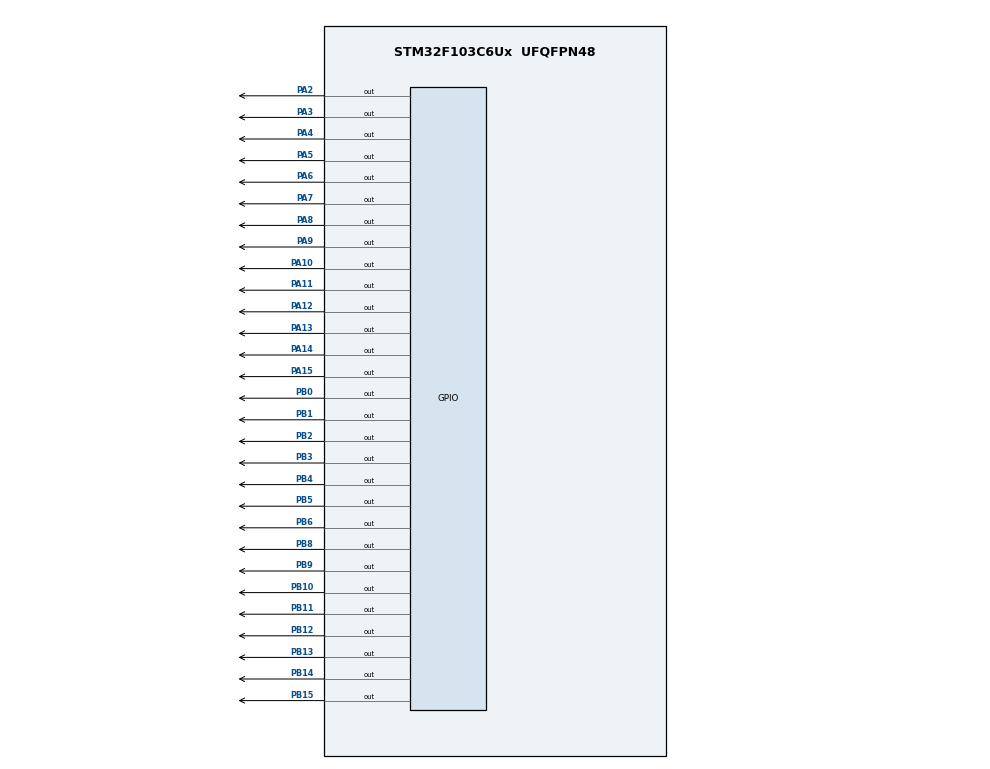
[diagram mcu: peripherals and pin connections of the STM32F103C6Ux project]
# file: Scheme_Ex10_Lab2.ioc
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Mcu.Family=STM32F1
Mcu.Name=STM32F103C6Ux
Mcu.Package=UFQFPN48
NVIC.PriorityGroup=NVIC_PRIORITYGROUP_4
NVIC.TIM2_IRQn=true\:0\:0\:false\:false\:true\:true\:true
PA10.Signal=GPIO_Output
PA11.Signal=GPIO_Output
PA12.Signal=GPIO_Output
PA13.Signal=GPIO_Output
PA14.Signal=GPIO_Output
PA15.Signal=GPIO_Output
PA2.Signal=GPIO_Output
PA3.Signal=GPIO_Output
PA4.Signal=GPIO_Output
PA5.Signal=GPIO_Output
PA6.Signal=GPIO_Output
PA7.Signal=GPIO_Output
PA8.Signal=GPIO_Output
PA9.Signal=GPIO_Output
PB0.Signal=GPIO_Output
PB1.Signal=GPIO_Output
PB10.Signal=GPIO_Output
PB11.Signal=GPIO_Output
PB12.Signal=GPIO_Output
PB13.Signal=GPIO_Output
PB14.Signal=GPIO_Output
PB15.Signal=GPIO_Output
PB2.Signal=GPIO_Output
PB3.Signal=GPIO_Output
PB4.Signal=GPIO_Output
PB5.Signal=GPIO_Output
PB6.Signal=GPIO_Output
PB8.Signal=GPIO_Output
PB9.Signal=GPIO_Output
ProjectManager.HeapSize=0x200
ProjectManager.StackSize=0x400
ProjectManager.TargetToolchain=STM32CubeIDE
RCC.APB1Freq_Value=8000000
RCC.APB2Freq_Value=8000000
TIM2.Period=9
TIM2.Prescaler=7999
VP_SYS_VS_ND.Mode=No_Debug
VP_TIM2_VS_ClockSourceINT.Mode=Internal
board=custom

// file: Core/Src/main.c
/* USER CODE BEGIN Header */
/**
  ******************************************************************************
  * @file           : main.c
  * @brief          : Lab 2 - Exercise 10: LED Matrix 8x8 Shift Animation & 7-SEG
  ******************************************************************************
  * @attention
  *
  * <h2><center>&copy; Copyright (c) 2026 STMicroelectronics.
  * All rights reserved.</center></h2>
  *
  * This software component is licensed by ST under BSD 3-Clause license,
  * the "License"; You may not use this file except in compliance with the
  * License. You may obtain a copy of the License at:
  *                        opensource.org/licenses/BSD-3-Clause
  *
  ******************************************************************************
  */
/* USER CODE END Header */
#include "main.h"

TIM_HandleTypeDef htim2;

/* USER CODE BEGIN PV */
/*  LED 7 ĐOẠN & ĐỒNG HỒ */
const int MAX_LED = 4;
int led_buffer[4] = {0, 0, 0, 0};

int hour = 15;
int minute = 8;
int second = 50;

int index_led = 0;

/*  MA TRẬN LED 8x8  */
const int MAX_LED_MATRIX = 8;
int index_led_matrix = 0;

/*  bit 1 là SÁNG, bit 0 là TẮT */
uint8_t matrix_buffer[8] = {
    0b00000000, // Cột 0: Tắt
    0b01111110, // Cột 1: Thân trái
    0b00010010, // Cột 2: Đỉnh + thanh ngang
    0b00010010, // Cột 3: Đỉnh + thanh ngang
    0b00010010, // Cột 4: Đỉnh + thanh ngang
    0b00010010, // Cột 5: Đỉnh + thanh ngang
    0b01111110, // Cột 6: Thân phải
    0b00000000  // Cột 7: Tắt
};

/*  HỆ THỐNG SOFTWARE TIMERS */
// Timer 1: 1000ms DOT (PA4), LED D1 (PA5)
volatile int timer1_counter = 0;
volatile int timer1_flag = 0;

// Timer 2: 250ms  quét lần lượt 4 LED 7 đoạn
volatile int timer2_counter = 0;
volatile int timer2_flag = 0;

// Timer 3: 10ms quét 8 cột LED Ma trận
volatile int timer3_counter = 0;
volatile int timer3_flag = 0;

// Timer 4: 500ms cho việc dịch chuyển chữ 'A' sang trái
volatile int timer4_counter = 0;
volatile int timer4_flag = 0;

int TIMER_CYCLE = 10; // Chu kỳ ngắt phần cứng Timer 10ms
/* USER CODE END PV */

void SystemClock_Config(void);
static void MX_GPIO_Init(void);
static void MX_TIM2_Init(void);
/* USER CODE BEGIN PFP */
void display7SEG(int num);
void updateClockBuffer(void);
void update7SEG(int index);
void updateLEDMatrix(int index);
void shift_matrix_left(void);

void setTimer1(int duration);
void setTimer2(int duration);
void setTimer3(int duration);
void setTimer4(int duration);
void timer_run(void);
/* USER CODE END PFP */

/* USER CODE BEGIN 0 */
static const uint8_t seg_code[10] = {
    0b1000000, // 0: a,b,c,d,e,f
    0b1111001, // 1: b,c
    0b0100100, // 2: a,b,d,e,g
    0b0110000, // 3: a,b,c,d,g
    0b0011001, // 4: b,c,f,g
    0b0010010, // 5: a,c,d,f,g
    0b0000010, // 6: a,c,d,e,f,g
    0b1111000, // 7: a,b,c
    0b0000000, // 8: a,b,c,d,e,f,g
    0b0010000  // 9: a,b,c,d,f,g
};

void display7SEG(int num)
{
    if (num < 0 || num > 9) return;
    uint8_t code = seg_code[num];
    HAL_GPIO_WritePin(GPIOB, GPIO_PIN_0, (code & 0x01) ? GPIO_PIN_SET : GPIO_PIN_RESET);
    HAL_GPIO_WritePin(GPIOB, GPIO_PIN_1, (code & 0x02) ? GPIO_PIN_SET : GPIO_PIN_RESET);
    HAL_GPIO_WritePin(GPIOB, GPIO_PIN_2, (code & 0x04) ? GPIO_PIN_SET : GPIO_PIN_RESET);
    HAL_GPIO_WritePin(GPIOB, GPIO_PIN_3, (code & 0x08) ? GPIO_PIN_SET : GPIO_PIN_RESET);
    HAL_GPIO_WritePin(GPIOB, GPIO_PIN_4, (code & 0x10) ? GPIO_PIN_SET : GPIO_PIN_RESET);
    HAL_GPIO_WritePin(GPIOB, GPIO_PIN_5, (code & 0x20) ? GPIO_PIN_SET : GPIO_PIN_RESET);
    HAL_GPIO_WritePin(GPIOB, GPIO_PIN_6, (code & 0x40) ? GPIO_PIN_SET : GPIO_PIN_RESET);
}

void updateClockBuffer(void)
{
    led_buffer[0] = hour / 10;
    led_buffer[1] = hour % 10;
    led_buffer[2] = minute / 10;
    led_buffer[3] = minute % 10;
}

void update7SEG(int index)
{
    // Tắt 4 transistor PNP
    HAL_GPIO_WritePin(GPIOA, GPIO_PIN_6 | GPIO_PIN_7 | GPIO_PIN_8 | GPIO_PIN_9, GPIO_PIN_SET);

    switch (index) {
        case 0:
            display7SEG(led_buffer[0]);
            HAL_GPIO_WritePin(GPIOA, GPIO_PIN_6, GPIO_PIN_RESET);
            break;
        case 1:
            display7SEG(led_buffer[1]);
            HAL_GPIO_WritePin(GPIOA, GPIO_PIN_7, GPIO_PIN_RESET);
            break;
        case 2:
            display7SEG(led_buffer[2]);
            HAL_GPIO_WritePin(GPIOA, GPIO_PIN_8, GPIO_PIN_RESET);
            break;
        case 3:
            display7SEG(led_buffer[3]);
            HAL_GPIO_WritePin(GPIOA, GPIO_PIN_9, GPIO_PIN_RESET);
            break;
        default:
            break;
    }
}

/* Quét 1 cột của ma trận LED 8x8 */
void updateLEDMatrix(int index)
{
    // TẮT tất cả 8 cột = 0V - tắt toàn bộ đèn
    HAL_GPIO_WritePin(GPIOA, GPIO_PIN_2 | GPIO_PIN_3 | GPIO_PIN_10 | GPIO_PIN_11 |
                             GPIO_PIN_12 | GPIO_PIN_13 | GPIO_PIN_14 | GPIO_PIN_15, GPIO_PIN_SET);

    //  Xuất dữ liệu bit của cột ra 8 Hàng (ROW0..ROW7 nối PB8..PB15)
-
    uint8_t row_val = matrix_buffer[index];
    HAL_GPIO_WritePin(GPIOB, GPIO_PIN_8,  (row_val & 0x01) ? GPIO_PIN_RESET : GPIO_PIN_SET);
    HAL_GPIO_WritePin(GPIOB, GPIO_PIN_9,  (row_val & 0x02) ? GPIO_PIN_RESET : GPIO_PIN_SET);
    HAL_GPIO_WritePin(GPIOB, GPIO_PIN_10, (row_val & 0x04) ? GPIO_PIN_RESET : GPIO_PIN_SET);
    HAL_GPIO_WritePin(GPIOB, GPIO_PIN_11, (row_val & 0x08) ? GPIO_PIN_RESET : GPIO_PIN_SET);
    HAL_GPIO_WritePin(GPIOB, GPIO_PIN_12, (row_val & 0x10) ? GPIO_PIN_RESET : GPIO_PIN_SET);
    HAL_GPIO_WritePin(GPIOB, GPIO_PIN_13, (row_val & 0x20) ? GPIO_PIN_RESET : GPIO_PIN_SET);
    HAL_GPIO_WritePin(GPIOB, GPIO_PIN_14, (row_val & 0x40) ? GPIO_PIN_RESET : GPIO_PIN_SET);
    HAL_GPIO_WritePin(GPIOB, GPIO_PIN_15, (row_val & 0x80) ? GPIO_PIN_RESET : GPIO_PIN_SET);

    //  BẬT duy nhất Cột tương ứng (ENM xuất mức 0 để ngõ ra ULN2803 lên 3.3V)
    switch (index) {
        case 0: HAL_GPIO_WritePin(GPIOA, GPIO_PIN_2,  GPIO_PIN_RESET); break; // ENM0
        case 1: HAL_GPIO_WritePin(GPIOA, GPIO_PIN_3,  GPIO_PIN_RESET); break; // ENM1
        case 2: HAL_GPIO_WritePin(GPIOA, GPIO_PIN_10, GPIO_PIN_RESET); break; // ENM2
        case 3: HAL_GPIO_WritePin(GPIOA, GPIO_PIN_11, GPIO_PIN_RESET); break; // ENM3
        case 4: HAL_GPIO_WritePin(GPIOA, GPIO_PIN_12, GPIO_PIN_RESET); break; // ENM4
        case 5: HAL_GPIO_WritePin(GPIOA, GPIO_PIN_13, GPIO_PIN_RESET); break; // ENM5
        case 6: HAL_GPIO_WritePin(GPIOA, GPIO_PIN_14, GPIO_PIN_RESET); break; // ENM6
        case 7: HAL_GPIO_WritePin(GPIOA, GPIO_PIN_15, GPIO_PIN_RESET); break; // ENM7
        default: break;
    }
}

/* Hàm dịch chuyển mảng hiển thị sang trái 1 cột (Vòng tròn vô tận - Ex 10) */
void shift_matrix_left(void)
{
    uint8_t temp = matrix_buffer[0];
    for (int i = 0; i < MAX_LED_MATRIX - 1; i++) {
        matrix_buffer[i] = matrix_buffer[i + 1];
    }
    matrix_buffer[MAX_LED_MATRIX - 1] = temp;
}

/* Các hàm cài đặt Software Timer */
void setTimer1(int duration)
{
    timer1_counter = duration / TIMER_CYCLE;
    timer1_flag = 0;
}

void setTimer2(int duration)
{
    timer2_counter = duration / TIMER_CYCLE;
    timer2_flag = 0;
}

void setTimer3(int duration)
{
    timer3_counter = duration / TIMER_CYCLE;
    timer3_flag = 0;
}

void setTimer4(int duration)
{
    timer4_counter = duration / TIMER_CYCLE;
    timer4_flag = 0;
}

/* Đếm lùi cho cả 4 Software Timer trong ngắt phần cứng 10ms */
void timer_run(void)
{
    if (timer1_counter > 0) {
        timer1_counter--;
        if (timer1_counter == 0) {
            timer1_flag = 1;
        }
    }

    if (timer2_counter > 0) {
        timer2_counter--;
        if (timer2_counter == 0) {
            timer2_flag = 1;
        }
    }

    if (timer3_counter > 0) {
        timer3_counter--;
        if (timer3_counter == 0) {
            timer3_flag = 1;
        }
    }

    if (timer4_counter > 0) {
        timer4_counter--;
        if (timer4_counter == 0) {
            timer4_flag = 1;
        }
    }
}
/* USER CODE END 0 */

int main(void)
{

  /* MCU Configuration--------------------------------------------------------*/

  /* Reset of all peripherals, Initializes the Flash interface and the Systick. */
  HAL_Init();

  /* Configure the system clock */
  SystemClock_Config();

  /* Initialize all configured peripherals */
  MX_GPIO_Init();
  MX_TIM2_Init();
  /* USER CODE BEGIN 2 */
  updateClockBuffer();

  /* Khởi động ngắt Timer 2 */
  HAL_TIM_Base_Start_IT(&htim2);

  /* Cài đặt 4 Software Timer ban đầu */
  setTimer1(1000); // 1000ms cho đồng hồ số & dấu hai chấm DOT
  setTimer2(250);  // 250ms cho việc quét lần lượt 4 LED 7 đoạn
  setTimer3(10);   // 10ms cho quét 8 cột LED Ma trận
  setTimer4(500);  // 500ms cho việc dịch chuyển chữ 'A' sang trái
  /* USER CODE END 2 */

  /* Infinite loop */
  while (1)
  {

    /* USER CODE BEGIN 3 */
    /*  Quét ma trận LED 8x8 hiển thị (chu kỳ 10ms) */
    if (timer3_flag == 1) {
        setTimer3(10);
        updateLEDMatrix(index_led_matrix);
        index_led_matrix++;
        if (index_led_matrix >= MAX_LED_MATRIX) {
            index_led_matrix = 0;
        }
    }

    /*  Dịch chuyển dữ liệu chữ 'A' sang trái (chu kỳ 500ms - Exercise 10) */
    if (timer4_flag == 1) {
        setTimer4(500);
        shift_matrix_left();
    }

    /* Quét 4 LED 7 đoạn (chu kỳ 250ms) */
    if (timer2_flag == 1) {
        setTimer2(250);
        update7SEG(index_led);
        index_led++;
        if (index_led >= MAX_LED) {
            index_led = 0;
        }
    }

    /*  Đếm thời gian số & đảo chân DOT (chu kỳ 1000ms) */
    if (timer1_flag == 1) {
        setTimer1(1000);
        HAL_GPIO_TogglePin(GPIOA, GPIO_PIN_4); // Đảo trạng thái đèn DOT (D2, D3)
        HAL_GPIO_TogglePin(GPIOA, GPIO_PIN_5); // Đảo trạng thái đèn LED D1

        second++;
        if (second >= 60) {
            second = 0;
            minute++;
            if (minute >= 60) {
                minute = 0;
                hour++;
                if (hour >= 24) {
                    hour = 0;
                }
            }
        }
        updateClockBuffer();
    }
  }
  /* USER CODE END 3 */
}

void SystemClock_Config(void)
{
  RCC_OscInitTypeDef RCC_OscInitStruct = {0};
  RCC_ClkInitTypeDef RCC_ClkInitStruct = {0};

  /** Initializes the RCC Oscillators according to the specified parameters
  * in the RCC_OscInitTypeDef structure.
  */
  RCC_OscInitStruct.OscillatorType = RCC_OSCILLATORTYPE_HSI;
  RCC_OscInitStruct.HSIState = RCC_HSI_ON;
  RCC_OscInitStruct.HSICalibrationValue = RCC_HSICALIBRATION_DEFAULT;
  RCC_OscInitStruct.PLL.PLLState = RCC_PLL_NONE;
  if (HAL_RCC_OscConfig(&RCC_OscInitStruct) != HAL_OK)
  {
    Error_Handler();
  }
  /** Initializes the CPU, AHB and APB buses clocks
  */
  RCC_ClkInitStruct.ClockType = RCC_CLOCKTYPE_HCLK|RCC_CLOCKTYPE_SYSCLK
                              |RCC_CLOCKTYPE_PCLK1|RCC_CLOCKTYPE_PCLK2;
  RCC_ClkInitStruct.SYSCLKSource = RCC_SYSCLKSOURCE_HSI;
  RCC_ClkInitStruct.AHBCLKDivider = RCC_SYSCLK_DIV1;
  RCC_ClkInitStruct.APB1CLKDivider = RCC_HCLK_DIV1;
  RCC_ClkInitStruct.APB2CLKDivider = RCC_HCLK_DIV1;

  if (HAL_RCC_ClockConfig(&RCC_ClkInitStruct, FLASH_LATENCY_0) != HAL_OK)
  {
    Error_Handler();
  }
}

static void MX_TIM2_Init(void)
{

  TIM_ClockConfigTypeDef sClockSourceConfig = {0};
  TIM_MasterConfigTypeDef sMasterConfig = {0};

  htim2.Instance = TIM2;
  htim2.Init.Prescaler = 7999;
  htim2.Init.CounterMode = TIM_COUNTERMODE_UP;
  htim2.Init.Period = 9;
  htim2.Init.ClockDivision = TIM_CLOCKDIVISION_DIV1;
  htim2.Init.AutoReloadPreload = TIM_AUTORELOAD_PRELOAD_DISABLE;
  if (HAL_TIM_Base_Init(&htim2) != HAL_OK)
  {
    Error_Handler();
  }
  sClockSourceConfig.ClockSource = TIM_CLOCKSOURCE_INTERNAL;
  if (HAL_TIM_ConfigClockSource(&htim2, &sClockSourceConfig) != HAL_OK)
  {
    Error_Handler();
  }
  sMasterConfig.MasterOutputTrigger = TIM_TRGO_RESET;
  sMasterConfig.MasterSlaveMode = TIM_MASTERSLAVEMODE_DISABLE;
  if (HAL_TIMEx_MasterConfigSynchronization(&htim2, &sMasterConfig) != HAL_OK)
  {
    Error_Handler();
  }
  /* USER CODE BEGIN TIM2_Init 2 */
  HAL_NVIC_SetPriority(TIM2_IRQn, 0, 0);
  HAL_NVIC_EnableIRQ(TIM2_IRQn);
  /* USER CODE END TIM2_Init 2 */

}

static void MX_GPIO_Init(void)
{
  GPIO_InitTypeDef GPIO_InitStruct = {0};

  /* GPIO Ports Clock Enable */
  __HAL_RCC_GPIOA_CLK_ENABLE();
  __HAL_RCC_GPIOB_CLK_ENABLE();
  __HAL_RCC_AFIO_CLK_ENABLE();

  /* Giải phóng hoàn toàn các chân JTAG và SWD để làm GPIO thông thường */
  __HAL_AFIO_REMAP_SWJ_DISABLE();

  /* Mức khởi tạo ban đầu cho các chân GPIOA */
  HAL_GPIO_WritePin(GPIOA, GPIO_PIN_2|GPIO_PIN_3|GPIO_PIN_4|GPIO_PIN_5
                          |GPIO_PIN_6|GPIO_PIN_7|GPIO_PIN_8|GPIO_PIN_9
                          |GPIO_PIN_10|GPIO_PIN_11|GPIO_PIN_12|GPIO_PIN_13
                          |GPIO_PIN_14|GPIO_PIN_15, GPIO_PIN_SET);

  /* Mức khởi tạo ban đầu cho các chân GPIOB */
  HAL_GPIO_WritePin(GPIOB, GPIO_PIN_0|GPIO_PIN_1|GPIO_PIN_2|GPIO_PIN_3
                          |GPIO_PIN_4|GPIO_PIN_5|GPIO_PIN_6|GPIO_PIN_8
                          |GPIO_PIN_9|GPIO_PIN_10|GPIO_PIN_11|GPIO_PIN_12
                          |GPIO_PIN_13|GPIO_PIN_14|GPIO_PIN_15, GPIO_PIN_SET);

  /* Cấu hình các chân ngõ ra Output cho GPIOA */
  GPIO_InitStruct.Pin = GPIO_PIN_2|GPIO_PIN_3|GPIO_PIN_4|GPIO_PIN_5
                          |GPIO_PIN_6|GPIO_PIN_7|GPIO_PIN_8|GPIO_PIN_9
                          |GPIO_PIN_10|GPIO_PIN_11|GPIO_PIN_12|GPIO_PIN_13
                          |GPIO_PIN_14|GPIO_PIN_15;
  GPIO_InitStruct.Mode = GPIO_MODE_OUTPUT_PP;
  GPIO_InitStruct.Pull = GPIO_NOPULL;
  GPIO_InitStruct.Speed = GPIO_SPEED_FREQ_LOW;
  HAL_GPIO_Init(GPIOA, &GPIO_InitStruct);

  /* Cấu hình các chân ngõ ra Output cho GPIOB */
  GPIO_InitStruct.Pin = GPIO_PIN_0|GPIO_PIN_1|GPIO_PIN_2|GPIO_PIN_3
                          |GPIO_PIN_4|GPIO_PIN_5|GPIO_PIN_6|GPIO_PIN_8
                          |GPIO_PIN_9|GPIO_PIN_10|GPIO_PIN_11|GPIO_PIN_12
                          |GPIO_PIN_13|GPIO_PIN_14|GPIO_PIN_15;
  GPIO_InitStruct.Mode = GPIO_MODE_OUTPUT_PP;
  GPIO_InitStruct.Pull = GPIO_NOPULL;
  GPIO_InitStruct.Speed = GPIO_SPEED_FREQ_LOW;
  HAL_GPIO_Init(GPIOB, &GPIO_InitStruct);

}

/* USER CODE BEGIN 4 */
void HAL_TIM_PeriodElapsedCallback(TIM_HandleTypeDef *htim)
{
  if (htim->Instance == TIM2)
  {
    timer_run();
  }
}
/* USER CODE END 4 */

void Error_Handler(void)
{
  __disable_irq();
  while (1)
  {
  }
}

/************************ (C) COPYRIGHT STMicroelectronics *****END OF FILE****/
